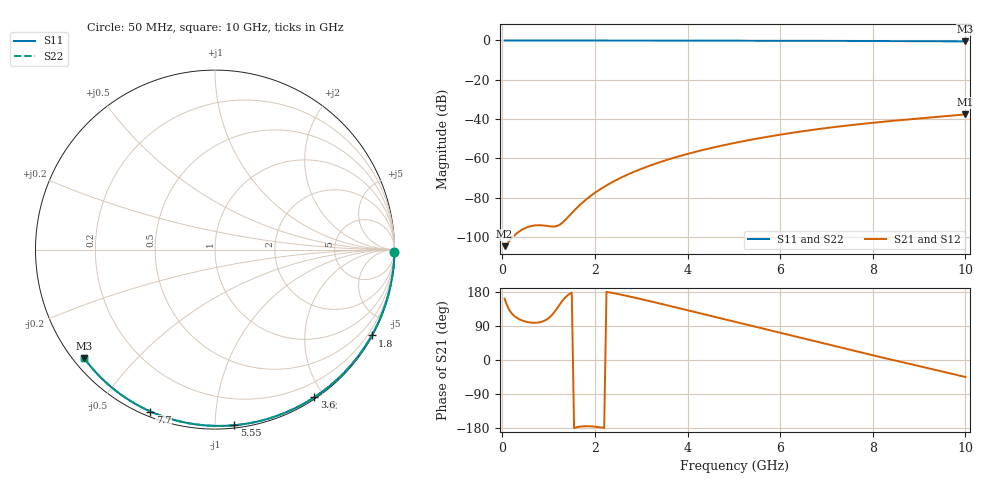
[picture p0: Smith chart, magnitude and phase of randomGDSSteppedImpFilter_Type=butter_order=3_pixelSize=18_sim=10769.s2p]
! freq	dB(S11)	phase(S11)	dB(S12)	phase(S12)
!  dB(S21)	phase(S21)	dB(S22)	phase(S22)
!S-par simulation data
#  GHz  S  DB  R 50
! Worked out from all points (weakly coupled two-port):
!   200 points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, 50 MHz to 10 GHz, reference 50 ohm
!   highest |S21| = -37.68 dB at 10 GHz (marker M1); lowest = -104.8 dB at 50 MHz (marker M2)
!   lowest |S11| = -0.5 dB at 10 GHz (marker M3), VSWR 36.91, Z = 1.53 - j18.1 ohm
!   |S11| at or under -10 dB: nowhere
!   |S22| runs from -0.5 to 0.0 dB; largest |S21 - S12| = 0
!   S11 on the Smith chart (normalised r, x): 50 MHz: open; 1.8 GHz: 0.03, -3.91; 3.6 GHz: 0.02, -1.88; 5.55 GHz: 0.02, -1.12; 7.7 GHz: 0.02, -0.68; 10 GHz: 0.03, -0.36
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0.05  -0.00 -0.8  -104.78 161.8  -104.78 161.8  -0.00 -0.8
0.45  -0.01 -7.3  -96.06 103.2  -96.06 103.2  -0.01 -7.3
0.9  -0.02 -14.5  -94.26 103.1  -94.26 103.1  -0.02 -14.5
1.75  -0.04 -27.9  -82.21 -174.9  -82.21 -174.9  -0.04 -27.9
1.8  -0.04 -28.7  -81.21 -174.7  -81.21 -174.7  -0.04 -28.7
1.85  -0.04 -29.5  -80.25 -174.8  -80.25 -174.8  -0.04 -29.5
2.1  -0.04 -33.4  -76.02 -177.4  -76.02 -177.4  -0.04 -33.4
2.25  -0.05 -35.7  -73.83 179.8  -73.83 179.8  -0.05 -35.7
2.55  -0.05 -40.3  -70.04 172.8  -70.04 172.8  -0.05 -40.3
2.95  -0.06 -46.4  -65.87 162.0  -65.87 162.0  -0.06 -46.4
3.4  -0.07 -53.1  -62.01 149.1  -62.01 149.1  -0.07 -53.1
3.6  -0.08 -56.1  -60.50 143.2  -60.50 143.2  -0.08 -56.1
3.9  -0.08 -60.5  -58.43 134.3  -58.43 134.3  -0.08 -60.5
4.3  -0.09 -66.2  -55.97 122.4  -55.97 122.4  -0.09 -66.2
5.05  -0.12 -76.8  -52.03 100.1  -52.03 100.1  -0.12 -76.8
5.55  -0.14 -83.7  -49.79 85.2  -49.79 85.2  -0.14 -83.7
6.1  -0.16 -91.1  -47.61 68.7  -47.61 68.7  -0.16 -91.1
6.7  -0.19 -98.9  -45.53 50.8  -45.53 50.8  -0.19 -98.9
7.7  -0.26 -111.7  -42.68 21.1  -42.68 21.1  -0.26 -111.7
8.35  -0.31 -119.9  -41.13 2.4  -41.13 2.4  -0.31 -119.9
9.2  -0.38 -130.4  -39.32 -21.7  -39.32 -21.7  -0.38 -130.4
10  -0.47 -140.2  -37.68 -45.0  -37.68 -45.0  -0.47 -140.2
